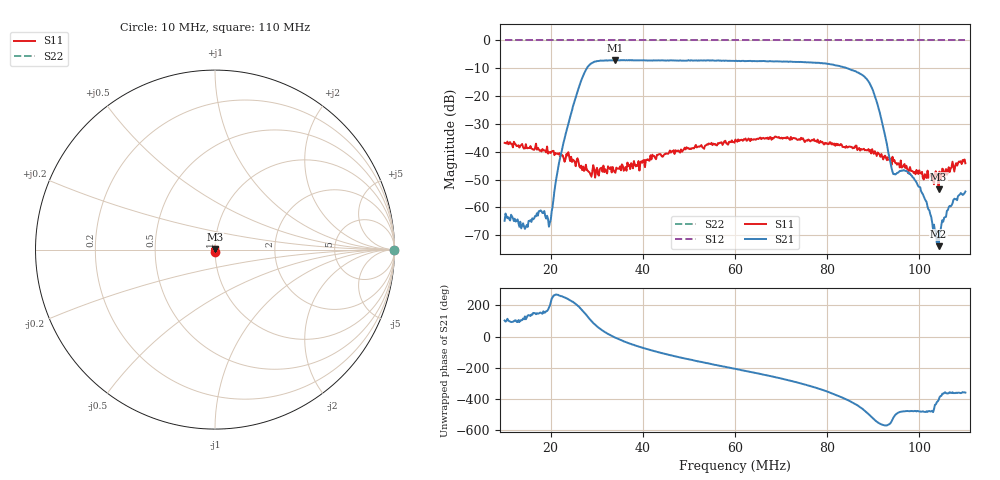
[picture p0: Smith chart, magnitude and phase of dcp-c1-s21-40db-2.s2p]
! Anritsu VNA Master:  Model: MS2034B/10/19/501
! SN:  1337062
! /bd0/ovro-jan-2016/dcp-c1-s21-40db-2.s2p
! Existing Calibration Information:
! TYPE:  Current Settings,  Active Cal Settings
! TIME:  01/11/2016 05:04:38 PM,  01/11/2016 04:43:35 PM
! INTERNAL TEMP:  43.3 C,  44.8 C
! # POINTS:  500,  500
! START FREQ:  10.000 MHz,  10.000 MHz
! STOP FREQ:  110.000 MHz,  110.000 MHz
! SOURCE POWER:  Low,  Low
! IFBW:  100 Hz,  100 Hz
! AVG FACTOR:  3 ,  3
! REF PLANE 1:  2.2245 m,  2.2245 m
! REF PLANE 2:  0 mm,  0 mm
! CAL TYPE:  1P2P S11,S21,  1P2P S11,S21
! CAL METHOD:  SOLT,  SOLT
! CAL LINE TYPE:  Coax,  Coax
! DUT PORT 1:  K-Conn(M),  K-Conn(M)
! DUT PORT 2:  N-Conn(M),  N-Conn(M)
! CAL STATUS:  OK: Accuracy High,  --
# GHZ S DB R 50.0
! FREQ.GHZ  S11DB  S11A  S21DB  S21A  S12DB  S12A  S22DB  S22A
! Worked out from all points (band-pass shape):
!   500 points, 10 MHz to 110 MHz, reference 50 ohm
!   highest |S21| = -7.06 dB at 34.05 MHz (marker M1); lowest = -74.0 dB at 104.2 MHz (marker M2)
!   |S21| within 3 dB of the highest: 27.82 MHz to 84.48 MHz (56.66 MHz wide, 101 % of centre)
!   lowest |S11| = -53.4 dB at 104.2 MHz (marker M3), VSWR 1.00, Z = 50 + j0.211 ohm
!   |S11| at or under -10 dB: start of sweep to end of sweep
!   |S22| runs from 0.0 to 0.0 dB; largest |S21 - S12| = 1.4
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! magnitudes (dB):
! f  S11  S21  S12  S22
! 10 MHz  -36.8  -64.8  0.0  0.0
! 14.61 MHz  -37.3  -67.0  0.0  0.0
! 17.82 MHz  -39.6  -61.1  0.0  0.0
! 19.82 MHz  -40.1  -65.6  0.0  0.0
! 22.42 MHz  -41.4  -39.5  0.0  0.0
! 26.83 MHz  -46.6  -13.5  0.0  0.0
! 29.04 MHz  -47.1  -8.0  0.0  0.0
! 34.05 MHz  -47.6  -7.1  0.0  0.0
! 43.47 MHz  -40.9  -7.2  0.0  0.0
! 60.1 MHz  -35.7  -7.4  0.0  0.0
! 76.73 MHz  -35.7  -7.9  0.0  0.0
! 84.15 MHz  -38.0  -9.9  0.0  0.0
! 88.56 MHz  -39.5  -13.8  0.0  0.0
! 90.96 MHz  -40.3  -23.2  0.0  0.0
! 93.37 MHz  -42.8  -41.0  0.0  0.0
! 94.57 MHz  -42.9  -48.0  0.0  0.0
! 97.17 MHz  -45.1  -46.9  0.0  0.0
! 99.78 MHz  -48.0  -52.4  0.0  0.0
! 103.8 MHz  -48.6  -72.7  0.0  0.0
! 104.2 MHz  -53.4  -74.0  0.0  0.0
! 106.4 MHz  -45.6  -59.9  0.0  0.0
! 110 MHz  -44.2  -54.3  0.0  0.0
